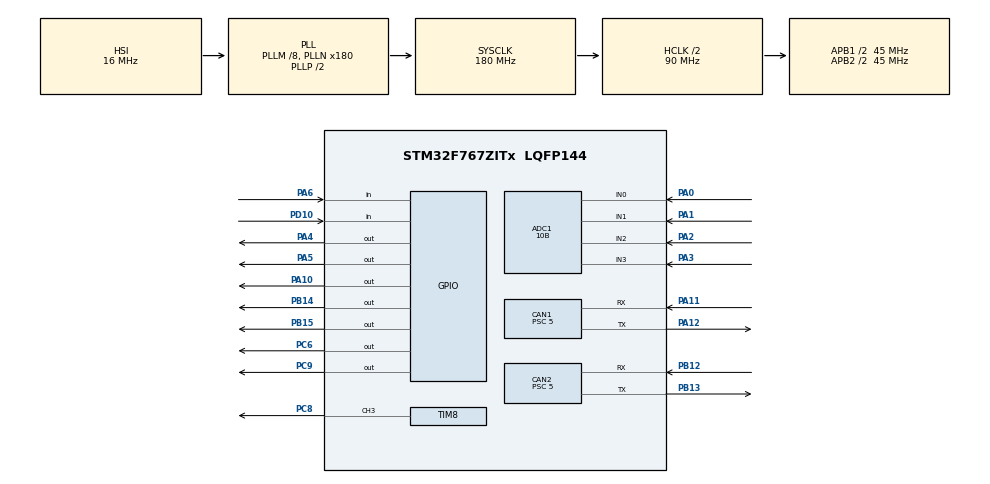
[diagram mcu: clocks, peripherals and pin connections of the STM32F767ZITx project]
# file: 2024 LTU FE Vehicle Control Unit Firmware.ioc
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ADC1.Channel-0\#ChannelRegularConversion=ADC_CHANNEL_0
ADC1.Channel-1\#ChannelRegularConversion=ADC_CHANNEL_1
ADC1.Channel-2\#ChannelRegularConversion=ADC_CHANNEL_2
ADC1.Channel-3\#ChannelRegularConversion=ADC_CHANNEL_3
ADC1.ClockPrescaler=ADC_CLOCK_SYNC_PCLK_DIV8
ADC1.NbrOfConversion=4
ADC1.NbrOfConversionFlag=1
ADC1.Rank-0\#ChannelRegularConversion=1
ADC1.Rank-1\#ChannelRegularConversion=2
ADC1.Rank-2\#ChannelRegularConversion=3
ADC1.Rank-3\#ChannelRegularConversion=4
ADC1.Resolution=ADC_RESOLUTION_10B
ADC1.SamplingTime-0\#ChannelRegularConversion=ADC_SAMPLETIME_56CYCLES
ADC1.SamplingTime-1\#ChannelRegularConversion=ADC_SAMPLETIME_56CYCLES
ADC1.SamplingTime-2\#ChannelRegularConversion=ADC_SAMPLETIME_56CYCLES
ADC1.SamplingTime-3\#ChannelRegularConversion=ADC_SAMPLETIME_56CYCLES
ADC1.master=1
CAN1.BS1=CAN_BS1_15TQ
CAN1.BS2=CAN_BS2_2TQ
CAN1.CalculateBaudRate=500000
CAN1.CalculateTimeBit=2000
CAN1.CalculateTimeQuantum=111.11111111111111
CAN1.NART=DISABLE
CAN1.Prescaler=5
CAN1.TXFP=DISABLE
CAN2.BS1=CAN_BS1_15TQ
CAN2.BS2=CAN_BS2_2TQ
CAN2.CalculateBaudRate=500000
CAN2.CalculateTimeBit=2000
CAN2.CalculateTimeQuantum=111.11111111111111
CAN2.Prescaler=5
Mcu.Family=STM32F7
Mcu.Name=STM32F767ZITx
Mcu.Package=LQFP144
NVIC.CAN1_RX0_IRQn=true\:7\:0\:true\:false\:true\:true\:true\:true
NVIC.CAN1_RX1_IRQn=true\:6\:0\:true\:false\:true\:true\:true\:true
NVIC.CAN2_RX0_IRQn=true\:1\:0\:true\:false\:true\:true\:true\:true
NVIC.CAN2_RX1_IRQn=true\:2\:0\:true\:false\:true\:true\:true\:true
NVIC.PriorityGroup=NVIC_PRIORITYGROUP_4
NVIC.TIM1_CC_IRQn=true\:0\:0\:false\:false\:true\:true\:true\:true
NVIC.TIM2_IRQn=true\:15\:0\:false\:false\:true\:false\:true\:true
NVIC.TimeBase=TIM2_IRQn
NVIC.TimeBaseIP=TIM2
PA0/WKUP.Signal=ADCx_IN0
PA1.Signal=ADCx_IN1
PA10.Signal=GPIO_Output
PA11.Mode=CAN_Activate
PA11.Signal=CAN1_RX
PA12.Mode=CAN_Activate
PA12.Signal=CAN1_TX
PA13.Mode=Serial_Wire
PA13.Signal=SYS_JTMS-SWDIO
PA14.Mode=Serial_Wire
PA14.Signal=SYS_JTCK-SWCLK
PA2.Signal=ADCx_IN2
PA3.Signal=ADCx_IN3
PA4.Signal=GPIO_Output
PA5.Signal=GPIO_Output
PA6.GPIO_PuPd=GPIO_PULLUP
PA6.Signal=GPIO_Input
PB12.Mode=CAN_Activate
PB12.Signal=CAN2_RX
PB13.Mode=CAN_Activate
PB13.Signal=CAN2_TX
PB14.Signal=GPIO_Output
PB15.Signal=GPIO_Output
PC14/OSC32_IN.Mode=LSE-External-Clock-Source
PC14/OSC32_IN.Signal=RCC_OSC32_IN
PC15/OSC32_OUT.Mode=LSE-External-Clock-Source
PC15/OSC32_OUT.Signal=RCC_OSC32_OUT
PC6.Signal=GPIO_Output
PC8.Signal=S_TIM8_CH3
PC9.Signal=GPIO_Output
PD10.GPIO_PuPd=GPIO_NOPULL
PD10.Signal=GPIO_Input
PH0/OSC_IN.Mode=HSE-External-Oscillator
PH0/OSC_IN.Signal=RCC_OSC_IN
PH1/OSC_OUT.Mode=HSE-External-Oscillator
PH1/OSC_OUT.Signal=RCC_OSC_OUT
ProjectManager.HeapSize=0x200
ProjectManager.StackSize=0x400
ProjectManager.TargetToolchain=STM32CubeIDE
RCC.AHBCLKDivider=RCC_SYSCLK_DIV2
RCC.AHBFreq_Value=90000000
RCC.APB1CLKDivider=RCC_HCLK_DIV2
RCC.APB1Freq_Value=45000000
RCC.APB1TimFreq_Value=90000000
RCC.APB2CLKDivider=RCC_HCLK_DIV2
RCC.APB2Freq_Value=45000000
RCC.APB2TimFreq_Value=90000000
RCC.CortexFreq_Value=90000000
RCC.HCLKFreq_Value=90000000
RCC.HSE_VALUE=25000000
RCC.HSI_VALUE=16000000
RCC.LSE_VALUE=32768
RCC.PLLM=8
RCC.PLLN=180
RCC.SYSCLKFreq_VALUE=180000000
RCC.SYSCLKSource=RCC_SYSCLKSOURCE_PLLCLK
RCC.USBFreq_Value=180000000
RCC.VCOOutputFreq_Value=360000000
SH.ADCx_IN0.0=ADC1_IN0,IN0
SH.ADCx_IN1.0=ADC1_IN1,IN1
SH.ADCx_IN2.0=ADC1_IN2,IN2
SH.ADCx_IN3.0=ADC1_IN3,IN3
SH.S_TIM8_CH3.0=TIM8_CH3,PWM Generation3 CH3
TIM1.Channel-Output\ Compare1\ No\ Output=TIM_CHANNEL_1
TIM1.Period=10000-1
TIM1.Prescaler=18000-1
TIM1.Pulse-Output\ Compare1\ No\ Output=10000-1
TIM8.Channel-PWM\ Generation3\ CH3=TIM_CHANNEL_3
TIM8.Period=100-1
TIM8.Prescaler=36-1
VP_SYS_VS_tim2.Mode=TIM2
VP_TIM1_VS_ClockSourceINT.Mode=Internal
VP_TIM1_VS_no_output1.Mode=Output Compare1 No Output
VP_TIM8_VS_ClockSourceINT.Mode=Internal
board=custom

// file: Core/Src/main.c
/* USER CODE BEGIN Header */
/**
  ******************************************************************************
  * @file           : main.c
  * @brief          : Main program body
  ******************************************************************************
  * @attention
  *
  * Copyright (c) 2024 STMicroelectronics.
  * All rights reserved.
  *
  * This software is licensed under terms that can be found in the LICENSE file
  * in the root directory of this software component.
  * If no LICENSE file comes with this software, it is provided AS-IS.
  *
  ******************************************************************************
  */
/* USER CODE END Header */
#include "main.h"

/* USER CODE BEGIN Includes */

#include "FreeRTOS.h"
#include "task.h"
#include "queue.h"
#include "timers.h"
#include "CAN.h"
#include "string.h"
#include "isolation.h"
#include "temp.h"

/* USER CODE END Includes */

/* USER CODE BEGIN PTD */

// Creates a boolean variable type
typedef enum
{

	true = 1,
	false = 0

} bool;

// Creates a CAN message typedef for queue
typedef struct
{
	uint8_t data[8];
	uint32_t StdID;
	uint32_t RTR;

} CAN_MsgHeaderTypedef;

/* USER CODE END PTD */

/* USER CODE BEGIN PD */

#define IGNITION_BUTTON_THRESHOLD 200
#define THROTTLE_DEVIATION_THRESHOLD 10

#define ADC_SAMPLE_COUNT 15
#define ADC_MAX_LIMIT 1023
#define ADC_MIN_LIMIT 0

#define NODE_GUARDING_PERIOD 100
#define TORQUE_CONTROL_PERIOD 10
#define SYNC_PERIOD 150

#define CAN_HIGH_PRIORITY_FIFO CAN_FILTER_FIFO1
#define CAN_LOW_PRIORITY_FIFO CAN_FilterFIFO0

#define INVERTER_TEMP_THRESHOLD 20

#define BMS_CAN_ID (0x6B0U)

/* USER CODE END PD */

ADC_HandleTypeDef hadc1;

CAN_HandleTypeDef hcan1;
CAN_HandleTypeDef hcan2;

TIM_HandleTypeDef htim1;
TIM_HandleTypeDef htim8;

/* USER CODE BEGIN PV */

/******************** GPIO Pin Definitions ********************/
// CAN Fault
GPIO_TypeDef* CAN_FAULT_PORT = GPIOA;
const uint16_t CAN_FAULT_PIN = GPIO_PIN_4;
GPIO_TypeDef* TEMP_SENSE_CAN_FAULT_PORT = GPIOA;
const uint16_t TEMP_SENSE_CAN_FAULT_PIN = GPIO_PIN_5;
const GPIO_PinState NO_FAULT_STATE = GPIO_PIN_SET;
const GPIO_PinState FAULT_STATE = GPIO_PIN_RESET;

// CAN Transreceiver
GPIO_TypeDef* CAN_ENABLE_1_PORT = GPIOA;
const uint16_t CAN_ENABLE_1_PIN = GPIO_PIN_10;
const GPIO_PinState CAN_ENABLE = GPIO_PIN_RESET;
const GPIO_PinState CAN_DISABLE = GPIO_PIN_SET;

// Ready to Drive(RTD) Speaker
GPIO_TypeDef* RTD_PIN_PORT = GPIOB;
const uint16_t RTD_PIN = GPIO_PIN_15;
const GPIO_PinState RTD_ACTIVE = GPIO_PIN_SET;
const GPIO_PinState RTD_DISABLE = GPIO_PIN_RESET;

// Ignition
GPIO_TypeDef* IGNITION_PORT = GPIOD;
const uint16_t IGNITION_PIN = GPIO_PIN_10;
const GPIO_PinState IGNITION_ACTIVE = GPIO_PIN_RESET;
const GPIO_PinState IGNITION_INACTIVE = GPIO_PIN_SET;
GPIO_TypeDef* IGNITION_ENABLE_PORT = GPIOA;
const uint16_t IGNITION_ENABLE_PIN = GPIO_PIN_6;
const GPIO_PinState IGNITION_ACTIVE_STATE = GPIO_PIN_RESET;

/******************** Timer Definitions ********************/
TIM_HandleTypeDef* OUTPUT_CAPTURE = &htim1;
const uint32_t IGNITION_OUPUT_CAPTURE = TIM_CHANNEL_1;

/******************** Ignition ********************/
GPIO_PinState buttonState, lastButtonState = IGNITION_INACTIVE;
bool enableCar = false;
unsigned long buttonPressTime = 0;

/******************** Torque Control ********************/
static ADC_ChannelConfTypeDef sConfig;
const uint32_t PRIMARY_THROTTLE_CHANNEL = ADC_CHANNEL_0;
const uint32_t SECONDARY_THROTTLE_CHANNEL = ADC_CHANNEL_1;
const uint32_t PRIMARY_BRAKE_CHANNEL = ADC_CHANNEL_2;
const uint32_t SECONDARY_BRAKE_CHANNEL = ADC_CHANNEL_3;

int max = 0, min = 0;
int maxIndex = 0, minIndex = 0;
uint32_t adcBuffer[ADC_SAMPLE_COUNT] = { 0 };
uint32_t sum = 0, average = 0;

int percentageDeviation = 0;

uint32_t primaryPotValue = 0, secondaryPotValue = 0;
int torqueRefLimit = 5000;

const int SPEED_REF_LIMIT = (6500 + 32768); // RPM' = (Actual RPM + 32768)

// Obtained from throttle mapping (Should be tuned for the system being used)
const uint32_t PRIMARY_THROTTLE_POSITION_MAX = 635;
const uint32_t PRIMARY_THROTTLE_POSITION_MIN = 570;

const uint32_t SECONDARY_THROTTLE_POSITION_MAX = 320;
const uint32_t SECONDARY_THROTTLE_POSITION_MIN = 145;

const uint32_t PRIMARY_THROTTLE_RANGE_MAX = 750;
const uint32_t PRIMARY_THROTTLE_RANGE_MIN = 500;

const uint32_t SECONDARY_THROTTLE_RANGE_MAX = 400;
const uint32_t SECONDARY_THROTTLE_RANGE_MIN = 100;
// Obtained from throttle mapping

// Obtained from brake pedal mapping (Should be tuned for the system being used)
const uint32_t PRIMARY_BRAKE_POSITION_MAX = 1023;
const uint32_t PRIMARY_BRAKE_POSITION_MIN = 0;

const uint32_t SECONDARY_BRAKE_POSITION_MAX = 1023;
const uint32_t SECONDARY_BRAKE_POSITION_MIN = 0;

const uint32_t PRIMARY_BRAKE_RANGE_MAX = 1023;
const uint32_t PRIMARY_BRAKE_RANGE_MIN = 0;

const uint32_t SECONDARY_BRAKE_RANGE_MAX = 1023;
const uint32_t SECONDARY_BRAKE_RANGE_MIN = 0;
// Obtained from brake pedal mapping

// Motor Torque Limits
const int TORQUE_REF_LIMIT_MAX = 8750; // Torque' = (%Torque + 100) / 0.02 Eg. (90%+100) / 0.02 = 9500
const int TORQUE_REF_LIMIT_MIN = 5000; // Torque' = (0 + 100) / 0.02 = 5000

/******************** Error Detection ********************/
bool errorSet[5] = { false };

/******************** IMD Data ********************/
IMD_Info_t imdInfo;

/******************** Temp Sense Data ********************/
TS_ECU1_TX1_t ecu1TX1;
TS_ECU2_TX1_t ecu2TX1;
TS_ECU3_TX1_t ecu3TX1;
TS_ECU4_TX1_t ecu4TX1;
TS_ECU5_TX1_t ecu5TX1;

/******************** Inverter and Motor Data ********************/
EMD_TxPDO_3_t txpdo_3;
EMD_TxPDO_5_t txpdo_5;
int motorRpm = 0;
int motorTemp = 0, inverterTemp = 0;

/******************** TPS Data ********************/
VCU_TPS_CurrentValue_t tpsCurrentValues;
VCU_TPS_Limits_t tpsLimits;

/******************** BMS Data ********************/
int packSOC = 0;

// Index for error set array
const int PRIM_THROTTLE_SENS_ERR = 0;
const int SECOND_THROTTLE_SENS_ERR = 1;
const int THROTTLE_OFFSET_ERROR = 2;
const int PRIMARY_BRK_SENS_ERROR = 3;
const int SECONDARY_BRK_SENS_ERROR = 4;

/******************** Ready to Drive Detection ********************/
bool readyToIgnition = false;

/* USER CODE END PV */

void SystemClock_Config(void);
static void MX_GPIO_Init(void);
static void MX_ADC1_Init(void);
static void MX_CAN1_Init(void);
static void MX_CAN2_Init(void);
static void MX_TIM1_Init(void);
static void MX_TIM8_Init(void);
/* USER CODE BEGIN PFP */

/******************** Task Handler Initializations ********************/
void vApplicationIdleHook(void);
void Task1_Handler(void* pvParameters);
void Task2_Handler(void* pvParameters);
void Task3_Handler(void* pvParameters);
void Task4_Handler(void* pvParameters);
void Task5_Handler(void* pvParameters);
void Task6_Handler(void* pvParameters);

/******************** Function Initializations ********************/

// Used to map throttle position
long map(long x, long in_min, long in_max, long out_min, long out_max);

// General Purpose constrain function
long constrain(long x, long out_min, long out_max);

// Handle Vehicle Ignition
void ignitionTask();

// Handles ADC Channel Selection
void setADCChannel(ADC_ChannelConfTypeDef* adcChConfig, uint32_t adcChannel);

// Returns the ADC dynamic averaging value (Eliminates induced noise and spikes in signal)
uint32_t getADCAverage(ADC_ChannelConfTypeDef* adcChConfig, uint32_t adcChannel);
uint32_t getPrimaryThrottlePosition(ADC_ChannelConfTypeDef* adcChConfig);
uint32_t getSecondaryThrottlePosition(ADC_ChannelConfTypeDef* adcChConfig);

// Checks for throttle position range/short-to-ground/open-circuit errors
bool primaryThrottleSensorErrorCheck();
bool secondaryThrottleSensorErrorCheck();

// Checks if both sensors are within a threshold range of each other
bool throttleSensorDeviationCheck();

// Requests Torque from the inverter
void torqueRequest(void);

/* USER CODE END PFP */

/* USER CODE BEGIN 0 */

// Task Error
BaseType_t xReturned;

// Task Handles
TaskHandle_t task1Handle = NULL;
TaskHandle_t task2Handle = NULL;
TaskHandle_t task3Handle = NULL;
TaskHandle_t task4Handle = NULL;
TaskHandle_t task5Handle = NULL;
TaskHandle_t task6Handle = NULL;

// Queue Handlers
QueueHandle_t lowPriorityQueue;
QueueHandle_t highPriorityQueue;

// Software Timer Handlers
TimerHandle_t xTimer;

// RTD Speaker ISR
void HAL_TIM_OC_DelayElapsedCallback(TIM_HandleTypeDef *htim)
{
  /* Prevent unused argument(s) compilation warning */
  //UNUSED(htim);

	HAL_GPIO_WritePin(RTD_PIN_PORT, RTD_PIN, RTD_DISABLE);

	HAL_TIM_OC_Stop_IT(&htim1, IGNITION_OUPUT_CAPTURE);

  /* NOTE : This function should not be modified, when the callback is needed,
            the HAL_TIM_OC_DelayElapsedCallback could be implemented in the user file
   */
}

// CAN ISR
void HAL_CAN_RxFifo0MsgPendingCallback(CAN_HandleTypeDef *hcan)
{
  /* Prevent unused argument(s) compilation warning */
  //UNUSED(hcan);

	CAN_RxHeaderTypeDef rxHeaderFIFO0;
	uint8_t dataFIFO0[8];
	CAN_MsgHeaderTypedef msgFIFO0;

	if (hcan->Instance == CAN1)
	{
		if (HAL_CAN_GetRxMessage(hcan, CAN_LOW_PRIORITY_FIFO, &rxHeaderFIFO0, dataFIFO0) == HAL_OK)
		{
			msgFIFO0.StdID = rxHeaderFIFO0.StdId;
			msgFIFO0.RTR = rxHeaderFIFO0.RTR;

			memcpy(msgFIFO0.data, dataFIFO0, 8);

			BaseType_t xHigherPriorityTaskWoken = pdFALSE;
			xQueueSendFromISR(lowPriorityQueue, &msgFIFO0, &xHigherPriorityTaskWoken);
			portYIELD_FROM_ISR(xHigherPriorityTaskWoken);
		}
	}

  /* NOTE : This function Should not be modified, when the callback is needed,
            the HAL_CAN_RxFifo0MsgPendingCallback could be implemented in the
            user file
   */
}

void HAL_CAN_RxFifo1MsgPendingCallback(CAN_HandleTypeDef *hcan)
{
  /* Prevent unused argument(s) compilation warning */
  //UNUSED(hcan);

	CAN_RxHeaderTypeDef rxHeaderFIFO1;
	uint8_t dataFIFO1[8];
	CAN_MsgHeaderTypedef msgFIFO1;

	if (hcan->Instance == CAN1)
	{
		if (HAL_CAN_GetRxMessage(hcan, CAN_HIGH_PRIORITY_FIFO, &rxHeaderFIFO1, dataFIFO1) == HAL_OK)
		{
			msgFIFO1.StdID = rxHeaderFIFO1.StdId;
			msgFIFO1.RTR = rxHeaderFIFO1.RTR;

			memcpy(msgFIFO1.data, dataFIFO1, 8);

			BaseType_t xHigherPriorityTaskWoken = pdFALSE;
			xQueueSendFromISR(highPriorityQueue, &msgFIFO1, &xHigherPriorityTaskWoken);
			portYIELD_FROM_ISR(xHigherPriorityTaskWoken);
		}
	}

  /* NOTE : This function Should not be modified, when the callback is needed,
            the HAL_CAN_RxFifo1MsgPendingCallback could be implemented in the
            user file
   */
}

/***************************** Timer Callback Request Inverter Data *****************************/
void vTimerCallback(xTimerHandle xTimer)
{
	// Inverter Sync Message
	sendSync(&hcan1);
}

/* USER CODE END 0 */

int main(void)
{

  /* MCU Configuration--------------------------------------------------------*/

  /* Reset of all peripherals, Initializes the Flash interface and the Systick. */
  HAL_Init();

  /* Configure the system clock */
  SystemClock_Config();

  /* Initialize all configured peripherals */
  MX_GPIO_Init();
  MX_ADC1_Init();
  MX_CAN1_Init();
  MX_CAN2_Init();
  MX_TIM1_Init();
  MX_TIM8_Init();
  /* USER CODE BEGIN 2 */

  // Initialize tps limits
  tpsLimits.TPS_PrimaryMaxLimit = PRIMARY_THROTTLE_POSITION_MAX;
  tpsLimits.TPS_PrimaryMinLimit = PRIMARY_THROTTLE_POSITION_MIN;
  tpsLimits.TPS_SecondaryMaxLimit = SECONDARY_THROTTLE_POSITION_MAX;
  tpsLimits.TPS_SecondaryMinLimit = SECONDARY_THROTTLE_POSITION_MIN;

  // Initialize CAN1
  initializeCAN(&hcan1);

  // CAN FAULT State -> Good
  HAL_GPIO_WritePin(CAN_FAULT_PORT, CAN_FAULT_PIN, NO_FAULT_STATE);

  HAL_GPIO_WritePin(TEMP_SENSE_CAN_FAULT_PORT, TEMP_SENSE_CAN_FAULT_PIN, NO_FAULT_STATE);

  // Enable CAN 1 Transreceiver
  HAL_GPIO_WritePin(CAN_ENABLE_1_PORT, CAN_ENABLE_1_PIN, CAN_ENABLE);

  // TPS Limits Message
  sendTPSLimits(&hcan1, &tpsLimits);

  /***************************** Queue Creation *****************************/

  lowPriorityQueue = xQueueCreate(7, sizeof(CAN_MsgHeaderTypedef));

  if (lowPriorityQueue == NULL)
  {
	  Error_Handler();
  }

  highPriorityQueue = xQueueCreate(2, sizeof(CAN_MsgHeaderTypedef));

  if (highPriorityQueue == NULL)
  {
	  Error_Handler();
  }

  /***************************** Timer Creation *****************************/
  xTimer = xTimerCreate("Sync_Timer", pdMS_TO_TICKS(SYNC_PERIOD), pdTRUE, (void*)0, vTimerCallback);

  xTimerStart(xTimer, 0);

  /***************************** Task Creation *****************************/

  xReturned = xTaskCreate(Task1_Handler, "Node_Guarding", 200, NULL, tskIDLE_PRIORITY + 3, &task1Handle);
  configASSERT(xReturned == pdPASS);

  xReturned = xTaskCreate(Task2_Handler, "Torque_Control", 200, NULL, tskIDLE_PRIORITY + 2, &task2Handle);
  configASSERT(xReturned == pdPASS);

  xReturned = xTaskCreate(Task3_Handler, "Ignition", 200, NULL, tskIDLE_PRIORITY + 1, &task3Handle);
  configASSERT(xReturned == pdPASS);

  xReturned = xTaskCreate(Task4_Handler, "Process_CAN_Data", 200, NULL, tskIDLE_PRIORITY + 1, &task4Handle);
  configASSERT(xReturned == pdPASS);

  xReturned = xTaskCreate(Task5_Handler, "Safety_System_Check", 200, NULL, tskIDLE_PRIORITY + 1, &task5Handle);
  configASSERT(xReturned == pdPASS);

  xReturned = xTaskCreate(Task6_Handler, "Torque_Derate", 200, NULL, tskIDLE_PRIORITY + 1, &task6Handle);
  configASSERT(xReturned == pdPASS);

  vTaskStartScheduler();

  /* USER CODE END 2 */

  /* Infinite loop */
  while (1)
  {

  }
}

void SystemClock_Config(void)
{
  RCC_OscInitTypeDef RCC_OscInitStruct = {0};
  RCC_ClkInitTypeDef RCC_ClkInitStruct = {0};

  /** Configure the main internal regulator output voltage
  */
  __HAL_RCC_PWR_CLK_ENABLE();
  __HAL_PWR_VOLTAGESCALING_CONFIG(PWR_REGULATOR_VOLTAGE_SCALE3);

  /** Initializes the RCC Oscillators according to the specified parameters
  * in the RCC_OscInitTypeDef structure.
  */
  RCC_OscInitStruct.OscillatorType = RCC_OSCILLATORTYPE_HSI;
  RCC_OscInitStruct.HSIState = RCC_HSI_ON;
  RCC_OscInitStruct.HSICalibrationValue = RCC_HSICALIBRATION_DEFAULT;
  RCC_OscInitStruct.PLL.PLLState = RCC_PLL_ON;
  RCC_OscInitStruct.PLL.PLLSource = RCC_PLLSOURCE_HSI;
  RCC_OscInitStruct.PLL.PLLM = 8;
  RCC_OscInitStruct.PLL.PLLN = 180;
  RCC_OscInitStruct.PLL.PLLP = RCC_PLLP_DIV2;
  RCC_OscInitStruct.PLL.PLLQ = 2;
  RCC_OscInitStruct.PLL.PLLR = 2;
  if (HAL_RCC_OscConfig(&RCC_OscInitStruct) != HAL_OK)
  {
    Error_Handler();
  }

  /** Initializes the CPU, AHB and APB buses clocks
  */
  RCC_ClkInitStruct.ClockType = RCC_CLOCKTYPE_HCLK|RCC_CLOCKTYPE_SYSCLK
                              |RCC_CLOCKTYPE_PCLK1|RCC_CLOCKTYPE_PCLK2;
  RCC_ClkInitStruct.SYSCLKSource = RCC_SYSCLKSOURCE_PLLCLK;
  RCC_ClkInitStruct.AHBCLKDivider = RCC_SYSCLK_DIV2;
  RCC_ClkInitStruct.APB1CLKDivider = RCC_HCLK_DIV2;
  RCC_ClkInitStruct.APB2CLKDivider = RCC_HCLK_DIV2;

  if (HAL_RCC_ClockConfig(&RCC_ClkInitStruct, FLASH_LATENCY_2) != HAL_OK)
  {
    Error_Handler();
  }
}

static void MX_ADC1_Init(void)
{

  ADC_ChannelConfTypeDef sConfig = {0};

  /** Configure the global features of the ADC (Clock, Resolution, Data Alignment and number of conversion)
  */
  hadc1.Instance = ADC1;
  hadc1.Init.ClockPrescaler = ADC_CLOCK_SYNC_PCLK_DIV8;
  hadc1.Init.Resolution = ADC_RESOLUTION_10B;
  hadc1.Init.ScanConvMode = ADC_SCAN_ENABLE;
  hadc1.Init.ContinuousConvMode = DISABLE;
  hadc1.Init.DiscontinuousConvMode = DISABLE;
  hadc1.Init.ExternalTrigConvEdge = ADC_EXTERNALTRIGCONVEDGE_NONE;
  hadc1.Init.ExternalTrigConv = ADC_SOFTWARE_START;
  hadc1.Init.DataAlign = ADC_DATAALIGN_RIGHT;
  hadc1.Init.NbrOfConversion = 4;
  hadc1.Init.DMAContinuousRequests = DISABLE;
  hadc1.Init.EOCSelection = ADC_EOC_SINGLE_CONV;
  if (HAL_ADC_Init(&hadc1) != HAL_OK)
  {
    Error_Handler();
  }

  /** Configure for the selected ADC regular channel its corresponding rank in the sequencer and its sample time.
  */
  sConfig.Channel = ADC_CHANNEL_0;
  sConfig.Rank = ADC_REGULAR_RANK_1;
  sConfig.SamplingTime = ADC_SAMPLETIME_56CYCLES;
  if (HAL_ADC_ConfigChannel(&hadc1, &sConfig) != HAL_OK)
  {
    Error_Handler();
  }

  /** Configure for the selected ADC regular channel its corresponding rank in the sequencer and its sample time.
  */
  sConfig.Channel = ADC_CHANNEL_1;
  sConfig.Rank = ADC_REGULAR_RANK_2;
  if (HAL_ADC_ConfigChannel(&hadc1, &sConfig) != HAL_OK)
  {
    Error_Handler();
  }

  /** Configure for the selected ADC regular channel its corresponding rank in the sequencer and its sample time.
  */
  sConfig.Channel = ADC_CHANNEL_2;
  sConfig.Rank = ADC_REGULAR_RANK_3;
  if (HAL_ADC_ConfigChannel(&hadc1, &sConfig) != HAL_OK)
  {
    Error_Handler();
  }

  /** Configure for the selected ADC regular channel its corresponding rank in the sequencer and its sample time.
  */
  sConfig.Channel = ADC_CHANNEL_3;
  sConfig.Rank = ADC_REGULAR_RANK_4;
  if (HAL_ADC_ConfigChannel(&hadc1, &sConfig) != HAL_OK)
  {
    Error_Handler();
  }

}

static void MX_CAN1_Init(void)
{

  hcan1.Instance = CAN1;
  hcan1.Init.Prescaler = 5;
  hcan1.Init.Mode = CAN_MODE_NORMAL;
  hcan1.Init.SyncJumpWidth = CAN_SJW_1TQ;
  hcan1.Init.TimeSeg1 = CAN_BS1_15TQ;
  hcan1.Init.TimeSeg2 = CAN_BS2_2TQ;
  hcan1.Init.TimeTriggeredMode = DISABLE;
  hcan1.Init.AutoBusOff = DISABLE;
  hcan1.Init.AutoWakeUp = DISABLE;
  hcan1.Init.AutoRetransmission = DISABLE;
  hcan1.Init.ReceiveFifoLocked = DISABLE;
  hcan1.Init.TransmitFifoPriority = DISABLE;
  if (HAL_CAN_Init(&hcan1) != HAL_OK)
  {
    Error_Handler();
  }

}

static void MX_CAN2_Init(void)
{

  hcan2.Instance = CAN2;
  hcan2.Init.Prescaler = 5;
  hcan2.Init.Mode = CAN_MODE_NORMAL;
  hcan2.Init.SyncJumpWidth = CAN_SJW_1TQ;
  hcan2.Init.TimeSeg1 = CAN_BS1_15TQ;
  hcan2.Init.TimeSeg2 = CAN_BS2_2TQ;
  hcan2.Init.TimeTriggeredMode = DISABLE;
  hcan2.Init.AutoBusOff = DISABLE;
  hcan2.Init.AutoWakeUp = DISABLE;
  hcan2.Init.AutoRetransmission = DISABLE;
  hcan2.Init.ReceiveFifoLocked = DISABLE;
  hcan2.Init.TransmitFifoPriority = DISABLE;
  if (HAL_CAN_Init(&hcan2) != HAL_OK)
  {
    Error_Handler();
  }

}

static void MX_TIM1_Init(void)
{

  TIM_ClockConfigTypeDef sClockSourceConfig = {0};
  TIM_MasterConfigTypeDef sMasterConfig = {0};
  TIM_OC_InitTypeDef sConfigOC = {0};
  TIM_BreakDeadTimeConfigTypeDef sBreakDeadTimeConfig = {0};

  htim1.Instance = TIM1;
  htim1.Init.Prescaler = 18000-1;
  htim1.Init.CounterMode = TIM_COUNTERMODE_UP;
  htim1.Init.Period = 10000-1;
  htim1.Init.ClockDivision = TIM_CLOCKDIVISION_DIV1;
  htim1.Init.RepetitionCounter = 0;
  htim1.Init.AutoReloadPreload = TIM_AUTORELOAD_PRELOAD_DISABLE;
  if (HAL_TIM_Base_Init(&htim1) != HAL_OK)
  {
    Error_Handler();
  }
  sClockSourceConfig.ClockSource = TIM_CLOCKSOURCE_INTERNAL;
  if (HAL_TIM_ConfigClockSource(&htim1, &sClockSourceConfig) != HAL_OK)
  {
    Error_Handler();
  }
  if (HAL_TIM_OC_Init(&htim1) != HAL_OK)
  {
    Error_Handler();
  }
  sMasterConfig.MasterOutputTrigger = TIM_TRGO_RESET;
  sMasterConfig.MasterOutputTrigger2 = TIM_TRGO2_RESET;
  sMasterConfig.MasterSlaveMode = TIM_MASTERSLAVEMODE_DISABLE;
  if (HAL_TIMEx_MasterConfigSynchronization(&htim1, &sMasterConfig) != HAL_OK)
  {
    Error_Handler();
  }
  sConfigOC.OCMode = TIM_OCMODE_TIMING;
  sConfigOC.Pulse = 10000-1;
  sConfigOC.OCPolarity = TIM_OCPOLARITY_HIGH;
  sConfigOC.OCNPolarity = TIM_OCNPOLARITY_HIGH;
  sConfigOC.OCFastMode = TIM_OCFAST_DISABLE;
  sConfigOC.OCIdleState = TIM_OCIDLESTATE_RESET;
  sConfigOC.OCNIdleState = TIM_OCNIDLESTATE_RESET;
  if (HAL_TIM_OC_ConfigChannel(&htim1, &sConfigOC, TIM_CHANNEL_1) != HAL_OK)
  {
    Error_Handler();
  }
  sBreakDeadTimeConfig.OffStateRunMode = TIM_OSSR_DISABLE;
  sBreakDeadTimeConfig.OffStateIDLEMode = TIM_OSSI_DISABLE;
  sBreakDeadTimeConfig.LockLevel = TIM_LOCKLEVEL_OFF;
  sBreakDeadTimeConfig.DeadTime = 0;
  sBreakDeadTimeConfig.BreakState = TIM_BREAK_DISABLE;
  sBreakDeadTimeConfig.BreakPolarity = TIM_BREAKPOLARITY_HIGH;
  sBreakDeadTimeConfig.BreakFilter = 0;
  sBreakDeadTimeConfig.Break2State = TIM_BREAK2_DISABLE;
  sBreakDeadTimeConfig.Break2Polarity = TIM_BREAK2POLARITY_HIGH;
  sBreakDeadTimeConfig.Break2Filter = 0;
  sBreakDeadTimeConfig.AutomaticOutput = TIM_AUTOMATICOUTPUT_DISABLE;
  if (HAL_TIMEx_ConfigBreakDeadTime(&htim1, &sBreakDeadTimeConfig) != HAL_OK)
  {
    Error_Handler();
  }

}

static void MX_TIM8_Init(void)
{

  TIM_ClockConfigTypeDef sClockSourceConfig = {0};
  TIM_MasterConfigTypeDef sMasterConfig = {0};
  TIM_OC_InitTypeDef sConfigOC = {0};
  TIM_BreakDeadTimeConfigTypeDef sBreakDeadTimeConfig = {0};

  htim8.Instance = TIM8;
  htim8.Init.Prescaler = 36-1;
  htim8.Init.CounterMode = TIM_COUNTERMODE_UP;
  htim8.Init.Period = 100-1;
  htim8.Init.ClockDivision = TIM_CLOCKDIVISION_DIV1;
  htim8.Init.RepetitionCounter = 0;
  htim8.Init.AutoReloadPreload = TIM_AUTORELOAD_PRELOAD_DISABLE;
  if (HAL_TIM_Base_Init(&htim8) != HAL_OK)
  {
    Error_Handler();
  }
  sClockSourceConfig.ClockSource = TIM_CLOCKSOURCE_INTERNAL;
  if (HAL_TIM_ConfigClockSource(&htim8, &sClockSourceConfig) != HAL_OK)
  {
    Error_Handler();
  }
  if (HAL_TIM_PWM_Init(&htim8) != HAL_OK)
  {
    Error_Handler();
  }
  sMasterConfig.MasterOutputTrigger = TIM_TRGO_RESET;
  sMasterConfig.MasterOutputTrigger2 = TIM_TRGO2_RESET;
  sMasterConfig.MasterSlaveMode = TIM_MASTERSLAVEMODE_DISABLE;
  if (HAL_TIMEx_MasterConfigSynchronization(&htim8, &sMasterConfig) != HAL_OK)
  {
    Error_Handler();
  }
  sConfigOC.OCMode = TIM_OCMODE_PWM1;
  sConfigOC.Pulse = 0;
  sConfigOC.OCPolarity = TIM_OCPOLARITY_HIGH;
  sConfigOC.OCNPolarity = TIM_OCNPOLARITY_HIGH;
  sConfigOC.OCFastMode = TIM_OCFAST_DISABLE;
  sConfigOC.OCIdleState = TIM_OCIDLESTATE_RESET;
  sConfigOC.OCNIdleState = TIM_OCNIDLESTATE_RESET;
  if (HAL_TIM_PWM_ConfigChannel(&htim8, &sConfigOC, TIM_CHANNEL_3) != HAL_OK)
  {
    Error_Handler();
  }
  sBreakDeadTimeConfig.OffStateRunMode = TIM_OSSR_DISABLE;
  sBreakDeadTimeConfig.OffStateIDLEMode = TIM_OSSI_DISABLE;
  sBreakDeadTimeConfig.LockLevel = TIM_LOCKLEVEL_OFF;
  sBreakDeadTimeConfig.DeadTime = 0;
  sBreakDeadTimeConfig.BreakState = TIM_BREAK_DISABLE;
  sBreakDeadTimeConfig.BreakPolarity = TIM_BREAKPOLARITY_HIGH;
  sBreakDeadTimeConfig.BreakFilter = 0;
  sBreakDeadTimeConfig.Break2State = TIM_BREAK2_DISABLE;
  sBreakDeadTimeConfig.Break2Polarity = TIM_BREAK2POLARITY_HIGH;
  sBreakDeadTimeConfig.Break2Filter = 0;
  sBreakDeadTimeConfig.AutomaticOutput = TIM_AUTOMATICOUTPUT_DISABLE;
  if (HAL_TIMEx_ConfigBreakDeadTime(&htim8, &sBreakDeadTimeConfig) != HAL_OK)
  {
    Error_Handler();
  }
  HAL_TIM_MspPostInit(&htim8);

}

static void MX_GPIO_Init(void)
{
  GPIO_InitTypeDef GPIO_InitStruct = {0};

  /* GPIO Ports Clock Enable */
  __HAL_RCC_GPIOC_CLK_ENABLE();
  __HAL_RCC_GPIOH_CLK_ENABLE();
  __HAL_RCC_GPIOA_CLK_ENABLE();
  __HAL_RCC_GPIOB_CLK_ENABLE();
  __HAL_RCC_GPIOD_CLK_ENABLE();

  /*Configure GPIO pin Output Level */
  HAL_GPIO_WritePin(GPIOA, GPIO_PIN_4|GPIO_PIN_5|GPIO_PIN_10, GPIO_PIN_RESET);

  /*Configure GPIO pin Output Level */
  HAL_GPIO_WritePin(GPIOB, GPIO_PIN_14|GPIO_PIN_15, GPIO_PIN_RESET);

  /*Configure GPIO pin Output Level */
  HAL_GPIO_WritePin(GPIOC, GPIO_PIN_6|GPIO_PIN_9, GPIO_PIN_RESET);

  /*Configure GPIO pins : PA4 PA5 PA10 */
  GPIO_InitStruct.Pin = GPIO_PIN_4|GPIO_PIN_5|GPIO_PIN_10;
  GPIO_InitStruct.Mode = GPIO_MODE_OUTPUT_PP;
  GPIO_InitStruct.Pull = GPIO_NOPULL;
  GPIO_InitStruct.Speed = GPIO_SPEED_FREQ_LOW;
  HAL_GPIO_Init(GPIOA, &GPIO_InitStruct);

  /*Configure GPIO pin : PA6 */
  GPIO_InitStruct.Pin = GPIO_PIN_6;
  GPIO_InitStruct.Mode = GPIO_MODE_INPUT;
  GPIO_InitStruct.Pull = GPIO_PULLUP;
  HAL_GPIO_Init(GPIOA, &GPIO_InitStruct);

  /*Configure GPIO pins : PB14 PB15 */
  GPIO_InitStruct.Pin = GPIO_PIN_14|GPIO_PIN_15;
  GPIO_InitStruct.Mode = GPIO_MODE_OUTPUT_PP;
  GPIO_InitStruct.Pull = GPIO_NOPULL;
  GPIO_InitStruct.Speed = GPIO_SPEED_FREQ_LOW;
  HAL_GPIO_Init(GPIOB, &GPIO_InitStruct);

  /*Configure GPIO pin : PD10 */
  GPIO_InitStruct.Pin = GPIO_PIN_10;
  GPIO_InitStruct.Mode = GPIO_MODE_INPUT;
  GPIO_InitStruct.Pull = GPIO_NOPULL;
  HAL_GPIO_Init(GPIOD, &GPIO_InitStruct);

  /*Configure GPIO pins : PC6 PC9 */
  GPIO_InitStruct.Pin = GPIO_PIN_6|GPIO_PIN_9;
  GPIO_InitStruct.Mode = GPIO_MODE_OUTPUT_PP;
  GPIO_InitStruct.Pull = GPIO_NOPULL;
  GPIO_InitStruct.Speed = GPIO_SPEED_FREQ_LOW;
  HAL_GPIO_Init(GPIOC, &GPIO_InitStruct);

}

/* USER CODE BEGIN 4 */

/***************************** Idle Task *****************************/
void vApplicationIdleHook(void)
{

}

/***************************** Node Guarding Task *****************************/
void Task1_Handler(void* pvParameters)
{
	TickType_t xLastWakeTime;
	const TickType_t xFrequency = NODE_GUARDING_PERIOD;

	xLastWakeTime = xTaskGetTickCount();

	for (;;)
	{
		// Suspend task until period
		vTaskDelayUntil(&xLastWakeTime, xFrequency);

		// Inverter Node Guarding Frame
		nodeGuarding(&hcan1);
	}
}

/***************************** Torque Control Task *****************************/
void Task2_Handler(void* pvParameters)
{
	TickType_t xLastWakeTime;
	const TickType_t xFrequency = TORQUE_CONTROL_PERIOD;

	xLastWakeTime = xTaskGetTickCount();

	for (;;)
	{
		// Suspend task until period
		vTaskDelayUntil(&xLastWakeTime, xFrequency);

		// Throttle Sensor Error Checks
		errorSet[PRIM_THROTTLE_SENS_ERR] = primaryThrottleSensorErrorCheck();

		errorSet[SECOND_THROTTLE_SENS_ERR] = secondaryThrottleSensorErrorCheck();

		errorSet[THROTTLE_OFFSET_ERROR] = throttleSensorDeviationCheck();

		// Torque Request
		torqueRequest();
	}
}

/***************************** Ignition Task *****************************/
void Task3_Handler(void* pvParameters)
{
	for (;;)
	{
		if (HAL_GPIO_ReadPin(IGNITION_ENABLE_PORT, IGNITION_ENABLE_PIN) == IGNITION_ACTIVE_STATE)
		{
			ignitionTask();
		}
	}
}

/***************************** CAN Data Processing Task *****************************/
void Task4_Handler(void* pvParameters)
{
	CAN_MsgHeaderTypedef msg;

	for (;;)
	{
		// Get Low Priority CAN Queue Data
		if (xQueueReceive(lowPriorityQueue, &msg, portMAX_DELAY) == pdPASS)
		{
			switch (msg.StdID)
			{
			case IMD_Info_CANID:
				Unpack_IMD_Info_isolation(&imdInfo, msg.data, IMD_Info_DLC);
				break;
			case TS_ECU1_TX1_CANID:
				Unpack_TS_ECU1_TX1_Temp(&ecu1TX1, msg.data, TS_ECU1_TX1_DLC);
				break;
			case TS_ECU2_TX1_CANID:
				Unpack_TS_ECU2_TX1_Temp(&ecu2TX1, msg.data, TS_ECU2_TX1_DLC);
				break;
			case TS_ECU3_TX1_CANID:
				Unpack_TS_ECU3_TX1_Temp(&ecu3TX1, msg.data, TS_ECU3_TX1_DLC);
				break;
			case TS_ECU4_TX1_CANID:
				Unpack_TS_ECU4_TX1_Temp(&ecu4TX1, msg.data, TS_ECU4_TX1_DLC);
				break;
			case TS_ECU5_TX1_CANID:
				Unpack_TS_ECU5_TX1_Temp(&ecu5TX1, msg.data, TS_ECU5_TX1_DLC);
				break;
			case EMD_TxPDO_5_CANID:
				Unpack_EMD_TxPDO_5__DO_QUASAR_CANopen(&txpdo_5, msg.data, EMD_TxPDO_3_DLC);
				break;
			default:
				break;
			}
		}
	}
}

/***************************** Safety Systems Check *****************************/
void Task5_Handler(void* pvParameters)
{
	for (;;)
	{
		motorTemp = txpdo_5.EMD_ACT_MotorTemperature;

		inverterTemp = txpdo_5.EMD_ACT_MaxJunctionTemp;

		if (inverterTemp > INVERTER_TEMP_THRESHOLD)
		{
		  // Enable Pump PWM
		  TIM8->CCR3 = 0;

		  HAL_TIM_PWM_Start(&htim8, TIM_CHANNEL_3);
		}
		else
		{
		  // Enable Pump PWM
		  TIM8->CCR3 = 0;

		  HAL_TIM_PWM_Start(&htim8, TIM_CHANNEL_3);
		}
	}
}

/***************************** Torque Derate *****************************/
void Task6_Handler(void* pvParameters)
{
	CAN_MsgHeaderTypedef msg;

	for (;;)
	{
		// Get Inverter Data
		if (xQueueReceive(highPriorityQueue, &msg, 100) == pdPASS)
		{
			switch(msg.StdID)
			{
			case EMD_TxPDO_3_CANID:
				Unpack_EMD_TxPDO_3__DO_QUASAR_CANopen(&txpdo_3, msg.data, EMD_TxPDO_3_DLC);

				motorRpm = txpdo_3.EMD_ACT_MotorSpeed;
				break;
			case BMS_CAN_ID:
				packSOC = (int)(msg.data[4] / 2);
				break;
			default:
				break;
			}
		}
	}
}

long map(long x, long in_min, long in_max, long out_min, long out_max) {
  return (x - in_min) * (out_max - out_min) / (in_max - in_min) + out_min;
}

long constrain(long x, long out_min, long out_max)
{
	if (x < out_min)
	{
		return out_min;
	}

	if (x > out_max)
	{
		return out_max;
	}

	return x;
}

void ignitionTask(void)
{
	buttonState = HAL_GPIO_ReadPin(IGNITION_PORT, IGNITION_PIN);

	buttonPressTime = HAL_GetTick();

	while (buttonState == IGNITION_ACTIVE)
	{
		if (HAL_GetTick() - buttonPressTime > IGNITION_BUTTON_THRESHOLD)
		{
			startNode(&hcan1);
			clearErrors(&hcan1);

			HAL_GPIO_WritePin(RTD_PIN_PORT, RTD_PIN, RTD_ACTIVE);

			TIM1->CNT = 0;
			HAL_TIM_OC_Start_IT(&htim1, IGNITION_OUPUT_CAPTURE);

			enableCar = true;

			buttonPressTime = HAL_GetTick();
		}

		buttonState = HAL_GPIO_ReadPin(IGNITION_PORT, IGNITION_PIN);
	}

	return;
}

void setADCChannel(ADC_ChannelConfTypeDef* adcChConfig, uint32_t adcChannel)
{
	adcChConfig->Channel = adcChannel;
	adcChConfig->Rank = ADC_REGULAR_RANK_1;
	adcChConfig->SamplingTime = ADC_SAMPLETIME_56CYCLES;

	if (HAL_ADC_ConfigChannel(&hadc1, adcChConfig) != HAL_OK)
	{
		Error_Handler();
	}

	return;
}

uint32_t getADCAverage(ADC_ChannelConfTypeDef* adcChConfig, uint32_t adcChannel)
{
	setADCChannel(adcChConfig, adcChannel);

	sum = 0;

	for (int i = 0; i < ADC_SAMPLE_COUNT; i++)
	{
		HAL_ADC_Start(&hadc1);

		HAL_ADC_PollForConversion(&hadc1, (1U));

		adcBuffer[i] = HAL_ADC_GetValue(&hadc1);

		HAL_ADC_Stop(&hadc1);
	}

	max = adcBuffer[0];

	for (int i = 1; i < ADC_SAMPLE_COUNT; i++)
	{
		if (adcBuffer[i] > max)
		{
			max = adcBuffer[i];
			maxIndex = i;
		}
	}

	min = adcBuffer[0];

	for (int i = 1; i < ADC_SAMPLE_COUNT; i++)
	{
		if (adcBuffer[i] < min)
		{
			min = adcBuffer[i];
			minIndex = i;
		}
	}

	for (int i = 0; i < ADC_SAMPLE_COUNT; i++)
	{
		if (i == minIndex || i == maxIndex)
		{
			sum += 0;
		}
		else
		{
			sum += adcBuffer[i];
		}
	}

	average = sum / (ADC_SAMPLE_COUNT - 2);

	adcBuffer[maxIndex] = average;

	adcBuffer[minIndex] = average;

	sum = 0;

	for (int i = 0; i < ADC_SAMPLE_COUNT; i++)
	{
		sum += adcBuffer[i];
	}

	average = sum / ADC_SAMPLE_COUNT;

	return average;
}

uint32_t getPrimaryThrottlePosition(ADC_ChannelConfTypeDef* adcChConfig)
{
	return constrain(getADCAverage(adcChConfig, PRIMARY_THROTTLE_CHANNEL), ADC_MIN_LIMIT, ADC_MAX_LIMIT);
}

uint32_t getSecondaryThrottlePosition(ADC_ChannelConfTypeDef* adcChConfig)
{
	return constrain(getADCAverage(adcChConfig, SECONDARY_THROTTLE_CHANNEL), ADC_MIN_LIMIT, ADC_MAX_LIMIT);
}

bool primaryThrottleSensorErrorCheck()
{
	primaryPotValue = getPrimaryThrottlePosition(&sConfig);

	if (primaryPotValue <= PRIMARY_THROTTLE_RANGE_MIN || primaryPotValue >= PRIMARY_THROTTLE_RANGE_MAX)
	{
		return true;
	}
	else
	{
		return false;
	}
}

bool secondaryThrottleSensorErrorCheck()
{
	secondaryPotValue = getSecondaryThrottlePosition(&sConfig);

	tpsCurrentValues.TPS_SecondaryCurrentVal = secondaryPotValue;

	if (secondaryPotValue <= SECONDARY_THROTTLE_RANGE_MIN || secondaryPotValue >= SECONDARY_THROTTLE_RANGE_MAX)
	{
		return true;
	}
	else
	{
		return false;
	}
}

bool throttleSensorDeviationCheck()
{
	if (errorSet[PRIM_THROTTLE_SENS_ERR] == true || errorSet[SECOND_THROTTLE_SENS_ERR] == true)
	{
		return false;
	}
	else
	{
		primaryPotValue = getPrimaryThrottlePosition(&sConfig);

		secondaryPotValue = getSecondaryThrottlePosition(&sConfig);

		if (primaryPotValue == 0 || secondaryPotValue == 0)
		{
			percentageDeviation = 0;

			return true;
		}
		else
		{
			if (primaryPotValue > secondaryPotValue)
			{
				percentageDeviation = (((primaryPotValue - secondaryPotValue) / (float)primaryPotValue) * 100);
			}
			else if (secondaryPotValue > primaryPotValue)
			{
				percentageDeviation = (((secondaryPotValue - primaryPotValue) / (float)secondaryPotValue) * 100);
			}
			else
			{
				percentageDeviation = 0;
			}
		}

		if (percentageDeviation > THROTTLE_DEVIATION_THRESHOLD)
		{
			return true;
		}
		else
		{
			return false;
		}
	}
}

void torqueRequest(void)
{
	if (errorSet[PRIM_THROTTLE_SENS_ERR] == true || errorSet[SECOND_THROTTLE_SENS_ERR] == true || errorSet[THROTTLE_OFFSET_ERROR] == true)
	{
		torqueRefLimit = 5000;
	}
	else
	{
		primaryPotValue = getPrimaryThrottlePosition(&sConfig);

		torqueRefLimit = map(primaryPotValue, PRIMARY_THROTTLE_POSITION_MIN, PRIMARY_THROTTLE_POSITION_MAX, TORQUE_REF_LIMIT_MIN, TORQUE_REF_LIMIT_MAX);

		torqueRefLimit = constrain(torqueRefLimit, TORQUE_REF_LIMIT_MIN, TORQUE_REF_LIMIT_MAX);

		tpsCurrentValues.TPS_PrimaryCurrentVal = primaryPotValue;
	}

	torqueControlMessage(&hcan1, SPEED_REF_LIMIT, &torqueRefLimit);

	sendTPSCurrentValue(&hcan1, &tpsCurrentValues);

	return;
}

/* USER CODE END 4 */

void HAL_TIM_PeriodElapsedCallback(TIM_HandleTypeDef *htim)
{
  if (htim->Instance == TIM2) {
    HAL_IncTick();
  }
}

void Error_Handler(void)
{
  /* USER CODE BEGIN Error_Handler_Debug */
  /* User can add his own implementation to report the HAL error return state */
  __disable_irq();
  while (1)
  {
	  HAL_GPIO_WritePin(CAN_FAULT_PORT, CAN_FAULT_PIN, FAULT_STATE);
  }
  /* USER CODE END Error_Handler_Debug */
}
